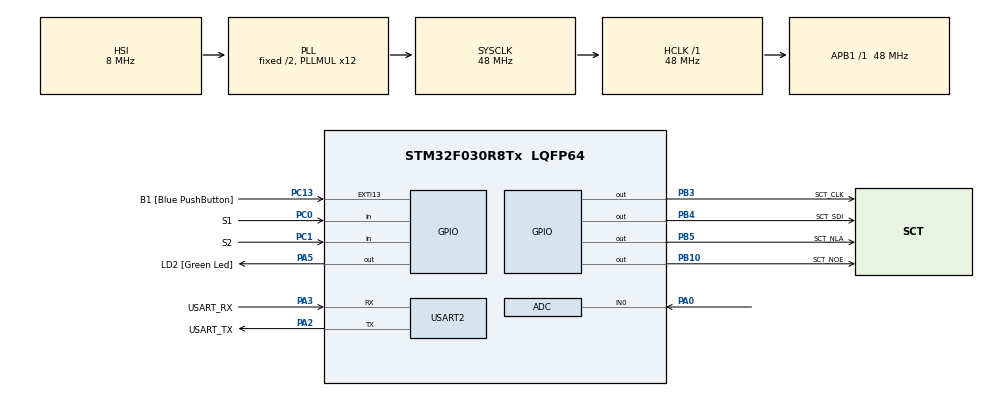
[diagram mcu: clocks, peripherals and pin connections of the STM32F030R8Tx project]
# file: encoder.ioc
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ADC.ContinuousConvMode=ENABLE
ADC.Overrun=ADC_OVR_DATA_OVERWRITTEN
ADC.SamplingTime=ADC_SAMPLETIME_239CYCLES_5
Mcu.Family=STM32F0
Mcu.Name=STM32F030R8Tx
Mcu.Package=LQFP64
NVIC.ADC1_IRQn=true\:0\:0\:false\:false\:true\:true\:true
PA0.Mode=IN0
PA0.Signal=ADC_IN0
PA13.GPIO_Label=TMS
PA13.Mode=Serial_Wire
PA13.Signal=SYS_SWDIO
PA14.GPIO_Label=TCK
PA14.Mode=Serial_Wire
PA14.Signal=SYS_SWCLK
PA2.GPIO_Label=USART_TX
PA2.GPIO_Mode=GPIO_MODE_AF_PP
PA2.GPIO_PuPd=GPIO_NOPULL
PA2.GPIO_Speed=GPIO_SPEED_FREQ_LOW
PA2.Mode=Asynchronous
PA2.Signal=USART2_TX
PA3.GPIO_Label=USART_RX
PA3.GPIO_Mode=GPIO_MODE_AF_PP
PA3.GPIO_PuPd=GPIO_NOPULL
PA3.GPIO_Speed=GPIO_SPEED_FREQ_LOW
PA3.Mode=Asynchronous
PA3.Signal=USART2_RX
PA5.GPIO_Label=LD2 [Green Led]
PA5.GPIO_Mode=GPIO_MODE_OUTPUT_PP
PA5.GPIO_PuPd=GPIO_NOPULL
PA5.GPIO_Speed=GPIO_SPEED_FREQ_LOW
PA5.Signal=GPIO_Output
PB10.GPIO_Label=SCT_NOE
PB10.Signal=GPIO_Output
PB3.GPIO_Label=SCT_CLK
PB3.Signal=GPIO_Output
PB4.GPIO_Label=SCT_SDI
PB4.Signal=GPIO_Output
PB5.GPIO_Label=SCT_NLA
PB5.Signal=GPIO_Output
PC0.GPIO_Label=S1
PC0.GPIO_PuPd=GPIO_PULLUP
PC0.Signal=GPIO_Input
PC1.GPIO_Label=S2
PC1.GPIO_PuPd=GPIO_PULLUP
PC1.Signal=GPIO_Input
PC13.GPIO_Label=B1 [Blue PushButton]
PC13.GPIO_ModeDefaultEXTI=GPIO_MODE_IT_FALLING
PC13.Signal=GPXTI13
PC14-OSC32_IN.Mode=LSE-External-Oscillator
PC14-OSC32_IN.Signal=RCC_OSC32_IN
PC15-OSC32_OUT.Mode=LSE-External-Oscillator
PC15-OSC32_OUT.Signal=RCC_OSC32_OUT
PF0-OSC_IN.Mode=HSE-External-Clock-Source
PF0-OSC_IN.Signal=RCC_OSC_IN
PF1-OSC_OUT.Signal=RCC_OSC_OUT
ProjectManager.HeapSize=0x200
ProjectManager.StackSize=0x400
ProjectManager.TargetToolchain=STM32CubeIDE
RCC.AHBFreq_Value=48000000
RCC.APB1Freq_Value=48000000
RCC.APB1TimFreq_Value=48000000
RCC.HCLKFreq_Value=48000000
RCC.PLLMUL=RCC_PLL_MUL12
RCC.SYSCLKFreq_VALUE=48000000
RCC.SYSCLKSource=RCC_SYSCLKSOURCE_PLLCLK
USART2.VirtualMode-Asynchronous=VM_ASYNC
board=NUCLEO-F030R8

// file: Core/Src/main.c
/* USER CODE BEGIN Header */
/**
  ******************************************************************************
  * @file           : main.c
  * @brief          : Main program body
  ******************************************************************************
  * @attention
  *
  * Copyright (c) 2022 STMicroelectronics.
  * All rights reserved.
  *
  * This software is licensed under terms that can be found in the LICENSE file
  * in the root directory of this software component.
  * If no LICENSE file comes with this software, it is provided AS-IS.
  *
  ******************************************************************************
  */
/* USER CODE END Header */
#include "main.h"

/* USER CODE BEGIN Includes */
#include "sct.h"
/* USER CODE END Includes */

ADC_HandleTypeDef hadc;

UART_HandleTypeDef huart2;

/* USER CODE BEGIN PV */
#define ADC_Q 14
/* USER CODE END PV */

void SystemClock_Config(void);
static void MX_GPIO_Init(void);
static void MX_USART2_UART_Init(void);
static void MX_ADC_Init(void);

/* USER CODE BEGIN 0 */
static volatile uint32_t raw_pot;
static volatile uint32_t avg_pot;
void HAL_ADC_ConvCpltCallback(ADC_HandleTypeDef* hadc)
{

	raw_pot = avg_pot >> ADC_Q;
	avg_pot -= raw_pot;
	avg_pot += HAL_ADC_GetValue(hadc);
}

void prictenihod()
{

	sct_value(8, 8);

}
void nulovani()
{
	sct_value(111, 0);
}
/* USER CODE END 0 */

int main(void)
{

  /* MCU Configuration--------------------------------------------------------*/

  /* Reset of all peripherals, Initializes the Flash interface and the Systick. */
  HAL_Init();

  /* Configure the system clock */
  SystemClock_Config();

  /* Initialize all configured peripherals */
  MX_GPIO_Init();
  MX_USART2_UART_Init();
  MX_ADC_Init();
  /* USER CODE BEGIN 2 */

  sct_init();
  HAL_ADCEx_Calibration_Start(&hadc);
  HAL_ADC_Start_IT(&hadc);

  /* USER CODE END 2 */

  /* Infinite loop */
  while (1)
  {

    /* USER CODE BEGIN 3 */
 uint32_t tick;
 /* 	  uint16_t cislo=0;
	  cislo= raw_pot/(4095/8);
	  sct_value(cislo, cislo);

*/
	  HAL_Delay(50);

	  static enum { SHOW_POT, SHOW_LTLAC, SHOW_KTLAC } state = SHOW_POT;

/*	  static int timestamp_pressed_long = -1;  // -1 means not pressed

	  if (timestamp_pressed_long == -1)
	  {
	      // user just pressed the button
		  timestamp_pressed_long = HAL_GetTick();  // milliseconds since startup

	  }
	  else if (HAL_GetTick() - timestamp_pressed_long > 2000)
	  {
	      // 2000 milliseconds = 2 seconds are over
	      // << your code
		  if (HAL_GPIO_ReadPin(S1_GPIO_Port,S1_Pin)==0)
		  {
			  cislo= raw_pot/(4095/8);
			  sct_value(cislo, 8);
		  }
		  timestamp_pressed_long = -1;
	  }
*/
	  if (HAL_GPIO_ReadPin(S2_GPIO_Port,S2_Pin)==0)
	  {
		  tick = HAL_GetTick();
		  state = SHOW_LTLAC;

	  }
	  else if (HAL_GPIO_ReadPin(S1_GPIO_Port,S1_Pin)==0)
	  {
		  tick = HAL_GetTick();
		  state = SHOW_KTLAC;
	  }

	  if (state==SHOW_KTLAC)
	  {
		  prictenihod();
	  }
	  else if (state == SHOW_LTLAC)
	  {
		  nulovani();
	  }
	  else if (state==SHOW_POT)
	  {
		  uint16_t cislo=0;
		  cislo= raw_pot/(4095/8);
		  sct_value(cislo, cislo);
	  }

	  if (HAL_GetTick()-tick >1000) {
		  state = SHOW_POT;
	  }

  }
  /* USER CODE END 3 */
}

void SystemClock_Config(void)
{
  RCC_OscInitTypeDef RCC_OscInitStruct = {0};
  RCC_ClkInitTypeDef RCC_ClkInitStruct = {0};

  /** Initializes the RCC Oscillators according to the specified parameters
  * in the RCC_OscInitTypeDef structure.
  */
  RCC_OscInitStruct.OscillatorType = RCC_OSCILLATORTYPE_HSI|RCC_OSCILLATORTYPE_HSI14;
  RCC_OscInitStruct.HSIState = RCC_HSI_ON;
  RCC_OscInitStruct.HSI14State = RCC_HSI14_ON;
  RCC_OscInitStruct.HSICalibrationValue = RCC_HSICALIBRATION_DEFAULT;
  RCC_OscInitStruct.HSI14CalibrationValue = 16;
  RCC_OscInitStruct.PLL.PLLState = RCC_PLL_ON;
  RCC_OscInitStruct.PLL.PLLSource = RCC_PLLSOURCE_HSI;
  RCC_OscInitStruct.PLL.PLLMUL = RCC_PLL_MUL12;
  RCC_OscInitStruct.PLL.PREDIV = RCC_PREDIV_DIV1;
  if (HAL_RCC_OscConfig(&RCC_OscInitStruct) != HAL_OK)
  {
    Error_Handler();
  }
  /** Initializes the CPU, AHB and APB buses clocks
  */
  RCC_ClkInitStruct.ClockType = RCC_CLOCKTYPE_HCLK|RCC_CLOCKTYPE_SYSCLK
                              |RCC_CLOCKTYPE_PCLK1;
  RCC_ClkInitStruct.SYSCLKSource = RCC_SYSCLKSOURCE_PLLCLK;
  RCC_ClkInitStruct.AHBCLKDivider = RCC_SYSCLK_DIV1;
  RCC_ClkInitStruct.APB1CLKDivider = RCC_HCLK_DIV1;

  if (HAL_RCC_ClockConfig(&RCC_ClkInitStruct, FLASH_LATENCY_1) != HAL_OK)
  {
    Error_Handler();
  }
}

static void MX_ADC_Init(void)
{

  ADC_ChannelConfTypeDef sConfig = {0};

  /** Configure the global features of the ADC (Clock, Resolution, Data Alignment and number of conversion)
  */
  hadc.Instance = ADC1;
  hadc.Init.ClockPrescaler = ADC_CLOCK_ASYNC_DIV1;
  hadc.Init.Resolution = ADC_RESOLUTION_12B;
  hadc.Init.DataAlign = ADC_DATAALIGN_RIGHT;
  hadc.Init.ScanConvMode = ADC_SCAN_DIRECTION_FORWARD;
  hadc.Init.EOCSelection = ADC_EOC_SINGLE_CONV;
  hadc.Init.LowPowerAutoWait = DISABLE;
  hadc.Init.LowPowerAutoPowerOff = DISABLE;
  hadc.Init.ContinuousConvMode = ENABLE;
  hadc.Init.DiscontinuousConvMode = DISABLE;
  hadc.Init.ExternalTrigConv = ADC_SOFTWARE_START;
  hadc.Init.ExternalTrigConvEdge = ADC_EXTERNALTRIGCONVEDGE_NONE;
  hadc.Init.DMAContinuousRequests = DISABLE;
  hadc.Init.Overrun = ADC_OVR_DATA_OVERWRITTEN;
  if (HAL_ADC_Init(&hadc) != HAL_OK)
  {
    Error_Handler();
  }
  /** Configure for the selected ADC regular channel to be converted.
  */
  sConfig.Channel = ADC_CHANNEL_0;
  sConfig.Rank = ADC_RANK_CHANNEL_NUMBER;
  sConfig.SamplingTime = ADC_SAMPLETIME_239CYCLES_5;
  if (HAL_ADC_ConfigChannel(&hadc, &sConfig) != HAL_OK)
  {
    Error_Handler();
  }

}

static void MX_USART2_UART_Init(void)
{

  huart2.Instance = USART2;
  huart2.Init.BaudRate = 38400;
  huart2.Init.WordLength = UART_WORDLENGTH_8B;
  huart2.Init.StopBits = UART_STOPBITS_1;
  huart2.Init.Parity = UART_PARITY_NONE;
  huart2.Init.Mode = UART_MODE_TX_RX;
  huart2.Init.HwFlowCtl = UART_HWCONTROL_NONE;
  huart2.Init.OverSampling = UART_OVERSAMPLING_16;
  huart2.Init.OneBitSampling = UART_ONE_BIT_SAMPLE_DISABLE;
  huart2.AdvancedInit.AdvFeatureInit = UART_ADVFEATURE_NO_INIT;
  if (HAL_UART_Init(&huart2) != HAL_OK)
  {
    Error_Handler();
  }

}

static void MX_GPIO_Init(void)
{
  GPIO_InitTypeDef GPIO_InitStruct = {0};

  /* GPIO Ports Clock Enable */
  __HAL_RCC_GPIOC_CLK_ENABLE();
  __HAL_RCC_GPIOF_CLK_ENABLE();
  __HAL_RCC_GPIOA_CLK_ENABLE();
  __HAL_RCC_GPIOB_CLK_ENABLE();

  /*Configure GPIO pin Output Level */
  HAL_GPIO_WritePin(LD2_GPIO_Port, LD2_Pin, GPIO_PIN_RESET);

  /*Configure GPIO pin Output Level */
  HAL_GPIO_WritePin(GPIOB, SCT_NOE_Pin|SCT_CLK_Pin|SCT_SDI_Pin|SCT_NLA_Pin, GPIO_PIN_RESET);

  /*Configure GPIO pin : B1_Pin */
  GPIO_InitStruct.Pin = B1_Pin;
  GPIO_InitStruct.Mode = GPIO_MODE_IT_FALLING;
  GPIO_InitStruct.Pull = GPIO_NOPULL;
  HAL_GPIO_Init(B1_GPIO_Port, &GPIO_InitStruct);

  /*Configure GPIO pins : S1_Pin S2_Pin */
  GPIO_InitStruct.Pin = S1_Pin|S2_Pin;
  GPIO_InitStruct.Mode = GPIO_MODE_INPUT;
  GPIO_InitStruct.Pull = GPIO_PULLUP;
  HAL_GPIO_Init(GPIOC, &GPIO_InitStruct);

  /*Configure GPIO pin : LD2_Pin */
  GPIO_InitStruct.Pin = LD2_Pin;
  GPIO_InitStruct.Mode = GPIO_MODE_OUTPUT_PP;
  GPIO_InitStruct.Pull = GPIO_NOPULL;
  GPIO_InitStruct.Speed = GPIO_SPEED_FREQ_LOW;
  HAL_GPIO_Init(LD2_GPIO_Port, &GPIO_InitStruct);

  /*Configure GPIO pins : SCT_NOE_Pin SCT_CLK_Pin SCT_SDI_Pin SCT_NLA_Pin */
  GPIO_InitStruct.Pin = SCT_NOE_Pin|SCT_CLK_Pin|SCT_SDI_Pin|SCT_NLA_Pin;
  GPIO_InitStruct.Mode = GPIO_MODE_OUTPUT_PP;
  GPIO_InitStruct.Pull = GPIO_NOPULL;
  GPIO_InitStruct.Speed = GPIO_SPEED_FREQ_LOW;
  HAL_GPIO_Init(GPIOB, &GPIO_InitStruct);

}

void Error_Handler(void)
{
  __disable_irq();
  while (1)
  {
  }
}
